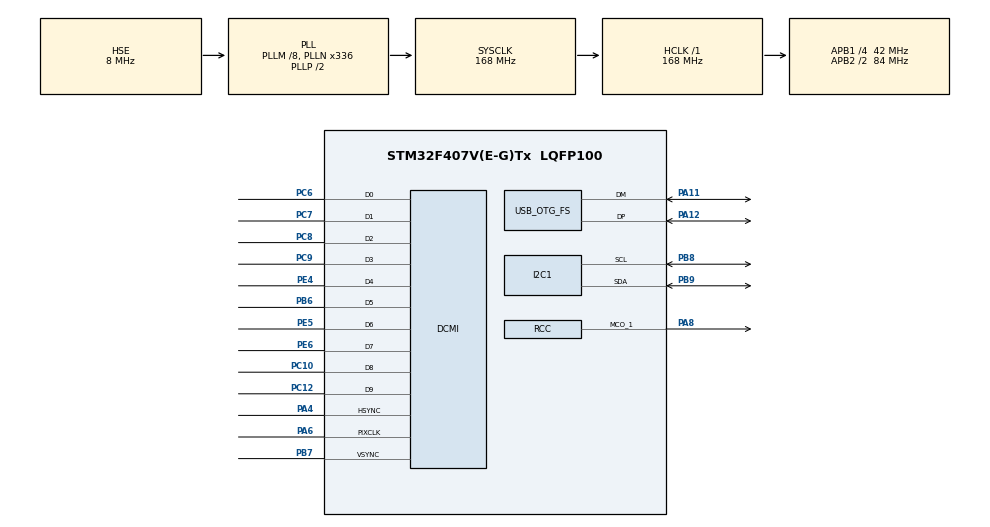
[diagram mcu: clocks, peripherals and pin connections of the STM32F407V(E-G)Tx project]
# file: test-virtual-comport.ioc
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DCMI.JPEGMode=DCMI_JPEG_DISABLE
FREERTOS.Tasks01=defaultTask,0,128,StartDefaultTask,Default,NULL,Dynamic,NULL,NULL
Mcu.Family=STM32F4
Mcu.Name=STM32F407V(E-G)Tx
Mcu.Package=LQFP100
NVIC.OTG_FS_IRQn=true\:5\:0\:false\:false\:true\:true\:true\:true
NVIC.PriorityGroup=NVIC_PRIORITYGROUP_4
PA0-WKUP.Mode=SYS_WakeUp0
PA0-WKUP.Signal=SYS_WKUP
PA11.Mode=Device_Only
PA11.Signal=USB_OTG_FS_DM
PA12.Mode=Device_Only
PA12.Signal=USB_OTG_FS_DP
PA13.Mode=JTAG_4_pins
PA13.Signal=SYS_JTMS-SWDIO
PA14.Mode=JTAG_4_pins
PA14.Signal=SYS_JTCK-SWCLK
PA15.Mode=JTAG_4_pins
PA15.Signal=SYS_JTDI
PA4.Mode=Slave_10_bits_External_Synchro
PA4.Signal=DCMI_HSYNC
PA6.Mode=Slave_10_bits_External_Synchro
PA6.Signal=DCMI_PIXCLK
PA8.Mode=Clock-out-1
PA8.Signal=RCC_MCO_1
PB3.Mode=JTAG_4_pins
PB3.Signal=SYS_JTDO-SWO
PB6.Mode=Slave_10_bits_External_Synchro
PB6.Signal=DCMI_D5
PB7.Mode=Slave_10_bits_External_Synchro
PB7.Signal=DCMI_VSYNC
PB8.Mode=I2C
PB8.Signal=I2C1_SCL
PB9.Mode=I2C
PB9.Signal=I2C1_SDA
PC10.Mode=Slave_10_bits_External_Synchro
PC10.Signal=DCMI_D8
PC12.Mode=Slave_10_bits_External_Synchro
PC12.Signal=DCMI_D9
PC6.Mode=Slave_10_bits_External_Synchro
PC6.Signal=DCMI_D0
PC7.Mode=Slave_10_bits_External_Synchro
PC7.Signal=DCMI_D1
PC8.Mode=Slave_10_bits_External_Synchro
PC8.Signal=DCMI_D2
PC9.Mode=Slave_10_bits_External_Synchro
PC9.Signal=DCMI_D3
PE4.Mode=Slave_10_bits_External_Synchro
PE4.Signal=DCMI_D4
PE5.Mode=Slave_10_bits_External_Synchro
PE5.Signal=DCMI_D6
PE6.Mode=Slave_10_bits_External_Synchro
PE6.Signal=DCMI_D7
PH0-OSC_IN.Mode=HSE-External-Oscillator
PH0-OSC_IN.Signal=RCC_OSC_IN
PH1-OSC_OUT.Mode=HSE-External-Oscillator
PH1-OSC_OUT.Signal=RCC_OSC_OUT
ProjectManager.HeapSize=0x200
ProjectManager.StackSize=0x400
ProjectManager.TargetToolchain=STM32CubeIDE
RCC.48MHZClocksFreq_Value=48000000
RCC.AHBFreq_Value=168000000
RCC.APB1CLKDivider=RCC_HCLK_DIV4
RCC.APB1Freq_Value=42000000
RCC.APB1TimFreq_Value=84000000
RCC.APB2CLKDivider=RCC_HCLK_DIV2
RCC.APB2Freq_Value=84000000
RCC.APB2TimFreq_Value=168000000
RCC.CortexFreq_Value=168000000
RCC.HCLKFreq_Value=168000000
RCC.HSE_VALUE=8000000
RCC.HSI_VALUE=16000000
RCC.LSE_VALUE=32768
RCC.PLLM=8
RCC.PLLN=336
RCC.PLLQ=7
RCC.SYSCLKFreq_VALUE=168000000
RCC.SYSCLKSource=RCC_SYSCLKSOURCE_PLLCLK
RCC.VCOOutputFreq_Value=336000000
USB_DEVICE.CLASS_NAME_FS=CDC
USB_DEVICE.VirtualMode-CDC_FS=Cdc
USB_DEVICE.VirtualModeFS=Cdc_FS
USB_OTG_FS.VirtualMode=Device_Only
VP_FREERTOS_VS_CMSIS_V1.Mode=CMSIS_V1
VP_USB_DEVICE_VS_USB_DEVICE_CDC_FS.Mode=CDC_FS
board=STM32F407G-DISC1

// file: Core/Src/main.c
/* USER CODE BEGIN Header */
/**
  ******************************************************************************
  * @file           : main.c
  * @brief          : Main program body
  ******************************************************************************
  * @attention
  *
  * <h2><center>&copy; Copyright (c) 2021 STMicroelectronics.
  * All rights reserved.</center></h2>
  *
  * This software component is licensed by ST under Ultimate Liberty license
  * SLA0044, the "License"; You may not use this file except in compliance with
  * the License. You may obtain a copy of the License at:
  *                             www.st.com/SLA0044
  *
  ******************************************************************************
  */
/* USER CODE END Header */
#include "main.h"
#include "cmsis_os.h"
#include "usb_device.h"

/* USER CODE BEGIN Includes */
#include "main.h"
#include "usbd_cdc_if.h"
#include "setup_camera.h"
/* USER CODE END Includes */

/* USER CODE BEGIN PD */
#define QUEUE_SIZE (uint32_t) 50
/* USER CODE END PD */

DCMI_HandleTypeDef hdcmi;

I2C_HandleTypeDef hi2c1;

osThreadId defaultTaskHandle;
/* USER CODE BEGIN PV */
osThreadId logThread;
osMessageQId pos_Queue;
HAL_StatusTypeDef status;
/* USER CODE END PV */

void SystemClock_Config(void);
static void MX_GPIO_Init(void);
static void MX_I2C1_Init(void);
static void MX_DCMI_Init(void);
void StartDefaultTask(void const * argument);

/* USER CODE BEGIN PFP */
void LoggerTask(void const * argument);
/* USER CODE END PFP */

int main(void)
 {

  /* MCU Configuration--------------------------------------------------------*/

  /* Reset of all peripherals, Initializes the Flash interface and the Systick. */
  HAL_Init();

  /* Configure the system clock */
  SystemClock_Config();

  /* Initialize all configured peripherals */
  MX_GPIO_Init();
  MX_I2C1_Init();
  MX_DCMI_Init();
  /* USER CODE BEGIN 2 */

  MX_USB_DEVICE_Init();
  /* USER CODE END 2 */

  /* USER CODE BEGIN RTOS_QUEUES */
  /* add queues, ... */
  osMessageQDef(pos_Queue, QUEUE_SIZE, const char*);
  pos_Queue = osMessageCreate(osMessageQ(pos_Queue), NULL);
  /* USER CODE END RTOS_QUEUES */

  /* Create the thread(s) */
  /* definition and creation of defaultTask */
  osThreadDef(defaultTask, StartDefaultTask, osPriorityNormal, 0, 128);
  defaultTaskHandle = osThreadCreate(osThread(defaultTask), NULL);

  /* USER CODE BEGIN RTOS_THREADS */
  /* add threads, ... */
  osThreadDef(logger, LoggerTask, osPriorityNormal, 0, 128);
  //logThread = osThreadCreate(osThread(logger), NULL);
  /* USER CODE END RTOS_THREADS */

  /* Start scheduler */
  osKernelStart();

  /* We should never get here as control is now taken by the scheduler */
  /* Infinite loop */
  while (1)
  {

  }
}

void SystemClock_Config(void)
{
  RCC_OscInitTypeDef RCC_OscInitStruct = {0};
  RCC_ClkInitTypeDef RCC_ClkInitStruct = {0};

  /** Configure the main internal regulator output voltage
  */
  __HAL_RCC_PWR_CLK_ENABLE();
  __HAL_PWR_VOLTAGESCALING_CONFIG(PWR_REGULATOR_VOLTAGE_SCALE1);
  /** Initializes the RCC Oscillators according to the specified parameters
  * in the RCC_OscInitTypeDef structure.
  */
  RCC_OscInitStruct.OscillatorType = RCC_OSCILLATORTYPE_HSI|RCC_OSCILLATORTYPE_HSE;
  RCC_OscInitStruct.HSEState = RCC_HSE_ON;
  RCC_OscInitStruct.HSIState = RCC_HSI_ON;
  RCC_OscInitStruct.HSICalibrationValue = RCC_HSICALIBRATION_DEFAULT;
  RCC_OscInitStruct.PLL.PLLState = RCC_PLL_ON;
  RCC_OscInitStruct.PLL.PLLSource = RCC_PLLSOURCE_HSE;
  RCC_OscInitStruct.PLL.PLLM = 8;
  RCC_OscInitStruct.PLL.PLLN = 336;
  RCC_OscInitStruct.PLL.PLLP = RCC_PLLP_DIV2;
  RCC_OscInitStruct.PLL.PLLQ = 7;
  if (HAL_RCC_OscConfig(&RCC_OscInitStruct) != HAL_OK)
  {
    Error_Handler();
  }
  /** Initializes the CPU, AHB and APB buses clocks
  */
  RCC_ClkInitStruct.ClockType = RCC_CLOCKTYPE_HCLK|RCC_CLOCKTYPE_SYSCLK
                              |RCC_CLOCKTYPE_PCLK1|RCC_CLOCKTYPE_PCLK2;
  RCC_ClkInitStruct.SYSCLKSource = RCC_SYSCLKSOURCE_PLLCLK;
  RCC_ClkInitStruct.AHBCLKDivider = RCC_SYSCLK_DIV1;
  RCC_ClkInitStruct.APB1CLKDivider = RCC_HCLK_DIV4;
  RCC_ClkInitStruct.APB2CLKDivider = RCC_HCLK_DIV2;

  if (HAL_RCC_ClockConfig(&RCC_ClkInitStruct, FLASH_LATENCY_5) != HAL_OK)
  {
    Error_Handler();
  }
  HAL_RCC_MCOConfig(RCC_MCO1, RCC_MCO1SOURCE_HSI, RCC_MCODIV_1);
}

static void MX_DCMI_Init(void)
{

  hdcmi.Instance = DCMI;
  hdcmi.Init.SynchroMode = DCMI_SYNCHRO_HARDWARE;
  hdcmi.Init.PCKPolarity = DCMI_PCKPOLARITY_FALLING;
  hdcmi.Init.VSPolarity = DCMI_VSPOLARITY_LOW;
  hdcmi.Init.HSPolarity = DCMI_HSPOLARITY_LOW;
  hdcmi.Init.CaptureRate = DCMI_CR_ALL_FRAME;
  hdcmi.Init.ExtendedDataMode = DCMI_EXTEND_DATA_10B;
  hdcmi.Init.JPEGMode = DCMI_JPEG_DISABLE;
  if (HAL_DCMI_Init(&hdcmi) != HAL_OK)
  {
    Error_Handler();
  }

}

static void MX_I2C1_Init(void)
{

  hi2c1.Instance = I2C1;
  hi2c1.Init.ClockSpeed = 100000;
  hi2c1.Init.DutyCycle = I2C_DUTYCYCLE_2;
  hi2c1.Init.OwnAddress1 = 0;
  hi2c1.Init.AddressingMode = I2C_ADDRESSINGMODE_7BIT;
  hi2c1.Init.DualAddressMode = I2C_DUALADDRESS_DISABLE;
  hi2c1.Init.OwnAddress2 = 0;
  hi2c1.Init.GeneralCallMode = I2C_GENERALCALL_DISABLE;
  hi2c1.Init.NoStretchMode = I2C_NOSTRETCH_DISABLE;
  if (HAL_I2C_Init(&hi2c1) != HAL_OK)
  {
    Error_Handler();
  }

}

static void MX_GPIO_Init(void)
{
  GPIO_InitTypeDef GPIO_InitStruct = {0};

  /* GPIO Ports Clock Enable */
  __HAL_RCC_GPIOE_CLK_ENABLE();
  __HAL_RCC_GPIOH_CLK_ENABLE();
  __HAL_RCC_GPIOA_CLK_ENABLE();
  __HAL_RCC_GPIOC_CLK_ENABLE();
  __HAL_RCC_GPIOB_CLK_ENABLE();

  /*Configure GPIO pin : PA8 */
  GPIO_InitStruct.Pin = GPIO_PIN_8;
  GPIO_InitStruct.Mode = GPIO_MODE_AF_PP;
  GPIO_InitStruct.Pull = GPIO_NOPULL;
  GPIO_InitStruct.Speed = GPIO_SPEED_FREQ_LOW;
  GPIO_InitStruct.Alternate = GPIO_AF0_MCO;
  HAL_GPIO_Init(GPIOA, &GPIO_InitStruct);

}

/* USER CODE BEGIN 4 */
void LoggerTask(void const * argument)
{
    char* str = NULL;
    osEvent event;

    for(;;)
    {
        event = osMessageGet(pos_Queue, osWaitForever);
        if (event.status == osEventMessage)
        {
           // CDC_Transmit_FS((uint8_t *) (char*) event.value.v, strlen((char*) event.value.v));
        }
    }
}
/* USER CODE END 4 */

void StartDefaultTask(void const * argument)
{
  /* init code for USB_DEVICE */
  MX_USB_DEVICE_Init();
  /* USER CODE BEGIN 5 */
	  //TODO настройки камеры
	  int i = 0;
	  char * str = (char*) malloc(sizeof (char) * 100);

	  //TODO настройки камеры
	  /* Infinite loop */

	  struct StatusStruct status = setup(&hi2c1, RESOLUTION_QVGA_320x240, PIXEL_RGB565);

//	  for(;;)
//	  {
//	        osDelay(1000);
//	        sprintf(str, "%s! %d\n\r", "wait for setup", status);
//	        osMessagePut(pos_Queue, (uint32_t) str, osWaitForever);
//	        struct StatusStruct status = setup(&hi2c1, RESOLUTION_QVGA_320x240, PIXEL_RGB565);
//	        if (status.value) {
//	            osDelay(100);
//	            sprintf(str, "%s!\n\r", "Setup is ok");
//	            osMessagePut(pos_Queue, (uint32_t) str, osWaitForever);
//	            struct RegisterData* data = getSetupInfo2();
//	            int i = 0;
//	            while (i <= 100) {
//	            	osDelay(10);
//	            	sprintf(str, "%d -> %d\n\r", data->addr, data->val);
//	            	osMessagePut(pos_Queue, (uint32_t) str, osWaitForever);
//	            	data++;
//	            	i++;
//	            }
//	        } else {
//	            osDelay(1000);
//	            sprintf(str, "%s!\n\r", "Setup is not ok");
//	            osMessagePut(pos_Queue, (uint32_t) str, osWaitForever);
//	            osDelay(100);
//	            sprintf(str, "%s %d!\n\r", "status is ", status.status);
//	            osMessagePut(pos_Queue, (uint32_t) str, osWaitForever);
//	            osDelay(100);
//	            sprintf(str, "%s!\n\r", hi2c1.Init.DualAddressMode);
//	            osMessagePut(pos_Queue, (uint32_t) str, osWaitForever);
//	        }
//	  }

	  while (1)
	  {
	    processFrame();
	  }
  /* USER CODE END 5 */
}

void Error_Handler(void)
{
  /* USER CODE BEGIN Error_Handler_Debug */
  /* User can add his own implementation to report the HAL error return state */
  __disable_irq();
  char * str = (char*) malloc(sizeof (char) * 100);
  while (1)
  {
      osDelay(1000);
      sprintf(str, "%s!\n\r", "Error initializing I2C");
      osMessagePut(pos_Queue, (uint32_t) str, osWaitForever);
  }
  /* USER CODE END Error_Handler_Debug */
}

/************************ (C) COPYRIGHT STMicroelectronics *****END OF FILE****/
